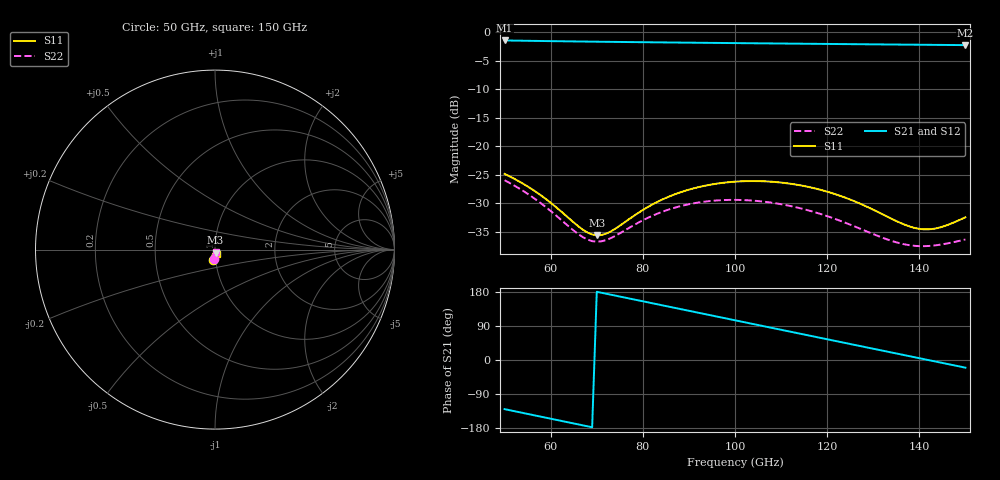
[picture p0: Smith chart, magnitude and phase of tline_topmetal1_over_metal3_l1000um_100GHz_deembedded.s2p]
! Created with skrf 2.0.1 (http://scikit-rf.org).
# GHz S DB R 50.0
!freq dBS11 angS11 dBS21 angS21 dBS12 angS12 dBS22 angS22
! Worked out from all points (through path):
!   101 points, 50 GHz to 150 GHz, reference 50 ohm
!   highest |S21| = -1.47 dB at 50 GHz (marker M1); lowest = -2.3 dB at 150 GHz (marker M2)
!   group delay of S21, straight-line fit = 6.96 ps
!   lowest |S11| = -35.6 dB at 70 GHz (marker M3), VSWR 1.03, Z = 50.3 - j1.65 ohm
!   |S11| at or under -10 dB: start of sweep to end of sweep
!   |S22| runs from -37.5 to -25.9 dB; largest |S21 - S12| = 7e-16
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50  -24.83 -101.9  -1.47 -129.7  -1.47 -129.7  -25.94 -99.5
55  -27.03 -109.4  -1.53 -142.3  -1.53 -142.3  -28.32 -106.3
59  -29.25 -112.5  -1.58 -152.4  -1.58 -152.4  -30.67 -108.5
63  -31.92 -110.2  -1.62 -162.4  -1.62 -162.4  -33.39 -105.1
67  -34.61 -97.7  -1.66 -172.5  -1.66 -172.5  -35.91 -91.8
70  -35.58 -80.3  -1.69 180.0  -1.69 180.0  -36.70 -75.6
73  -34.92 -63.1  -1.72 172.5  -1.72 172.5  -36.09 -60.7
77  -32.76 -50.9  -1.75 162.4  -1.75 162.4  -34.29 -50.3
84  -29.40 -50.1  -1.81 144.9  -1.81 144.9  -31.53 -50.1
92  -27.16 -60.6  -1.88 124.8  -1.88 124.8  -29.85 -60.3
96  -26.54 -67.3  -1.91 114.8  -1.91 114.8  -29.48 -66.8
100  -26.19 -74.4  -1.94 104.8  -1.94 104.8  -29.38 -73.5
104  -26.08 -81.6  -1.97 94.8  -1.97 94.8  -29.52 -80.4
108  -26.20 -88.7  -2.00 84.8  -2.00 84.8  -29.87 -87.0
112  -26.55 -95.5  -2.03 74.8  -2.03 74.8  -30.45 -93.1
117  -27.30 -103.2  -2.06 62.2  -2.06 62.2  -31.46 -99.8
126  -29.65 -112.9  -2.13 39.7  -2.13 39.7  -34.04 -106.1
134  -32.70 -110.2  -2.18 19.7  -2.18 19.7  -36.56 -100.8
138  -34.06 -101.3  -2.21 9.8  -2.21 9.8  -37.33 -93.6
142  -34.54 -87.9  -2.24 -0.2  -2.24 -0.2  -37.45 -85.7
145  -34.08 -78.2  -2.26 -7.7  -2.26 -7.7  -37.16 -80.8
150  -32.42 -68.3  -2.29 -20.2  -2.29 -20.2  -36.31 -76.4
